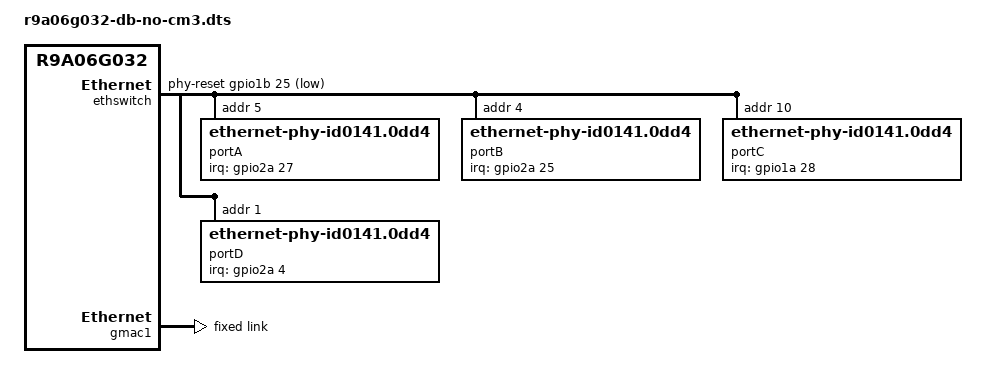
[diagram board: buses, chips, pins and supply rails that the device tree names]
// SPDX-License-Identifier: GPL-2.0
/*
 * Copyright (C) 2016-2022 Renesas Electronics Europe Ltd
 *
 * Device Tree Source for the RZN1D Demo Board.
 * This dts is for use when the Cortex M3 is not running, i.e. Linux controls
 * GMAC0, GMAC1, the 5-Port Switch and the RGMII/GMII Converters.
 */

#include "r9a06g032-rzn1d400-db.dts"

&ethswitch {
	status = "okay";
	bus_freq = <2500000>;
	pinctrl-names = "default";
	pinctrl-0 = <&pins_switch>, <&pins_mdio1>, <&pins_refclk_mii1>,
		    <&pins_eth1>, <&pins_eth2>, <&pins_eth3>, <&pins_eth4>;

	/*
	 * All PHYs, included the one attached to gmac0, are reset using GPIO 94.
	 * We rely on U-Boot to toggle this reset pin for other use cases, so don't
	 * really need to reset it here, however it stays as an example.
	 */
	phy-reset-gpios = <&gpio1b 25 GPIO_ACTIVE_HIGH>;
	phy-reset-duration = <15>;

	#address-cells = <1>;
	#size-cells = <0>;
	portA: phy_mii4: ethernet-phy@5 {
		compatible = "ethernet-phy-id0141.0dd4",
			     "ethernet-phy-ieee802.3-c22";
		device_type = "ethernet-phy";
		phy-mode = "mii";
		reg = <5>;
		micrel,10mbps-preamble-restore;
		/* Set LED0 as active low link status */
		micrel,led-mode = <1>;
		interrupt-parent = <&gpio2a>;
		interrupts = <27 IRQ_TYPE_LEVEL_LOW>;
	};
	portB: phy_mii3: ethernet-phy@4 {
		compatible = "ethernet-phy-id0141.0dd4",
			     "ethernet-phy-ieee802.3-c22";
		device_type = "ethernet-phy";
		phy-mode = "mii";
		reg = <4>;
		micrel,10mbps-preamble-restore;
		/* Set LED0 as active low link status */
		micrel,led-mode = <1>;
		interrupt-parent = <&gpio2a>;
		interrupts = <25 IRQ_TYPE_LEVEL_LOW>;

		/* Enable this port during init */
		swport-early-enable;
	};
	portC: phy_mii2: ethernet-phy@10 {
		compatible = "ethernet-phy-id0141.0dd4",
			     "ethernet-phy-ieee802.3-c22";
		/* Ext Board: Marvell 88E1512 PHY on J24 */
		device_type = "ethernet-phy";
		phy-mode = "rgmii-id";
		reg = <10>;
		/* Set LED0 as active low link status, LED2 as interrupt */
		marvell,reg-init = <3 16 0 0x1010 3 18 0 0x4980>;
		interrupt-parent = <&gpio1a>;
		interrupts = <28 IRQ_TYPE_LEVEL_LOW>;
	};
	portD: phy_mii1: ethernet-phy@1 {
		compatible = "ethernet-phy-id0141.0dd4",
			     "ethernet-phy-ieee802.3-c22";
		/* Ext Board: Marvell 88E1512 PHY on J23 */
		device_type = "ethernet-phy";
		phy-mode = "rgmii-id";
		reg = <1>;
		/* Set LED0 as active low link status, LED2 as interrupt */
		marvell,reg-init = <3 16 0 0x1010 3 18 0 0x4980>;
		interrupt-parent = <&gpio2a>;
		interrupts = <4 IRQ_TYPE_LEVEL_LOW>;
	};
};

&eth_miic {
	/* RIN Mode Control - GMAC1 on all Switch ports */
	mode_control = <0x13>;

	/* Add MII used by Eth Switch */
	mii1: eth-mii1 {
		phy-handle = <&phy_mii1>;
	};
	mii2: eth-mii2 {
		phy-handle = <&phy_mii2>;
	};
	mii3: eth-mii3 {
		phy-handle = <&phy_mii3>;
	};
	mii4: eth-mii4 {
		phy-handle = <&phy_mii4>;
	};
};

&gmac1 {
	status = "okay";

	/* Fixed 1Gbps link to the 5-port switch */
	fixed-link {
		speed = <1000>;
		full-duplex;
	};
};
